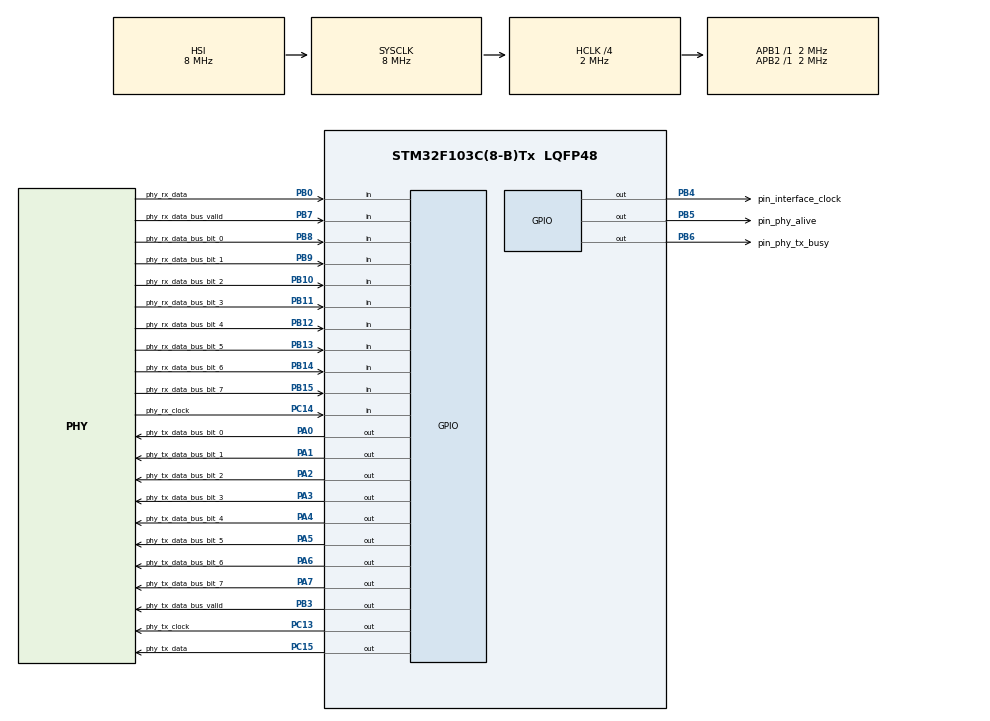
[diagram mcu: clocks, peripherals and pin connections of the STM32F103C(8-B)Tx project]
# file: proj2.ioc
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Mcu.Family=STM32F1
Mcu.Name=STM32F103C(8-B)Tx
Mcu.Package=LQFP48
NVIC.PriorityGroup=NVIC_PRIORITYGROUP_4
NVIC.TIM2_IRQn=true\:0\:0\:false\:false\:true\:true
NVIC.TIM3_IRQn=true\:0\:0\:false\:false\:true\:true
PA0-WKUP.GPIO_Label=phy_tx_data_bus_bit_0
PA0-WKUP.Signal=GPIO_Output
PA1.GPIO_Label=phy_tx_data_bus_bit_1
PA1.Signal=GPIO_Output
PA13.Mode=Serial_Wire
PA13.Signal=SYS_JTMS-SWDIO
PA14.Mode=Serial_Wire
PA14.Signal=SYS_JTCK-SWCLK
PA2.GPIO_Label=phy_tx_data_bus_bit_2
PA2.Signal=GPIO_Output
PA3.GPIO_Label=phy_tx_data_bus_bit_3
PA3.Signal=GPIO_Output
PA4.GPIO_Label=phy_tx_data_bus_bit_4
PA4.Signal=GPIO_Output
PA5.GPIO_Label=phy_tx_data_bus_bit_5
PA5.Signal=GPIO_Output
PA6.GPIO_Label=phy_tx_data_bus_bit_6
PA6.Signal=GPIO_Output
PA7.GPIO_Label=phy_tx_data_bus_bit_7
PA7.Signal=GPIO_Output
PB0.GPIO_Label=phy_rx_data
PB0.GPIO_PuPd=GPIO_PULLDOWN
PB0.Signal=GPIO_Input
PB10.GPIO_Label=phy_rx_data_bus_bit_2
PB10.GPIO_PuPd=GPIO_PULLDOWN
PB10.Signal=GPIO_Input
PB11.GPIO_Label=phy_rx_data_bus_bit_3
PB11.GPIO_PuPd=GPIO_PULLDOWN
PB11.Signal=GPIO_Input
PB12.GPIO_Label=phy_rx_data_bus_bit_4
PB12.GPIO_PuPd=GPIO_PULLDOWN
PB12.Signal=GPIO_Input
PB13.GPIO_Label=phy_rx_data_bus_bit_5
PB13.GPIO_PuPd=GPIO_PULLDOWN
PB13.Signal=GPIO_Input
PB14.GPIO_Label=phy_rx_data_bus_bit_6
PB14.GPIO_PuPd=GPIO_PULLDOWN
PB14.Signal=GPIO_Input
PB15.GPIO_Label=phy_rx_data_bus_bit_7
PB15.GPIO_PuPd=GPIO_PULLDOWN
PB15.Signal=GPIO_Input
PB3.GPIO_Label=phy_tx_data_bus_valid
PB3.Signal=GPIO_Output
PB4.GPIO_Label=pin_interface_clock
PB4.Signal=GPIO_Output
PB5.GPIO_Label=pin_phy_alive
PB5.Signal=GPIO_Output
PB6.GPIO_Label=pin_phy_tx_busy
PB6.Signal=GPIO_Output
PB7.GPIO_Label=phy_rx_data_bus_valid
PB7.GPIO_PuPd=GPIO_PULLDOWN
PB7.Signal=GPIO_Input
PB8.GPIO_Label=phy_rx_data_bus_bit_0
PB8.GPIO_PuPd=GPIO_PULLDOWN
PB8.Signal=GPIO_Input
PB9.GPIO_Label=phy_rx_data_bus_bit_1
PB9.GPIO_PuPd=GPIO_PULLDOWN
PB9.Signal=GPIO_Input
PC13-TAMPER-RTC.GPIO_Label=phy_tx_clock
PC13-TAMPER-RTC.GPIO_PuPd=GPIO_NOPULL
PC13-TAMPER-RTC.GPIO_Speed=GPIO_SPEED_FREQ_LOW
PC13-TAMPER-RTC.PinState=GPIO_PIN_RESET
PC13-TAMPER-RTC.Signal=GPIO_Output
PC14-OSC32_IN.GPIO_Label=phy_rx_clock
PC14-OSC32_IN.GPIO_PuPd=GPIO_PULLDOWN
PC14-OSC32_IN.Signal=GPIO_Input
PC15-OSC32_OUT.GPIO_Label=phy_tx_data
PC15-OSC32_OUT.Signal=GPIO_Output
ProjectManager.HeapSize=0x200
ProjectManager.StackSize=0x400
ProjectManager.TargetToolchain=MDK-ARM V5
RCC.AHBCLKDivider=RCC_SYSCLK_DIV4
RCC.AHBFreq_Value=2000000
RCC.APB1Freq_Value=2000000
RCC.APB1TimFreq_Value=2000000
RCC.APB2Freq_Value=2000000
RCC.APB2TimFreq_Value=2000000
RCC.HCLKFreq_Value=2000000
RCC.SYSCLKFreq_VALUE=8000000
RCC.USBFreq_Value=8000000
TIM2.AutoReloadPreload=TIM_AUTORELOAD_PRELOAD_ENABLE
TIM2.CounterMode=TIM_COUNTERMODE_DOWN
TIM2.Period=1
TIM2.Prescaler=9999
TIM3.AutoReloadPreload=TIM_AUTORELOAD_PRELOAD_ENABLE
TIM3.CounterMode=TIM_COUNTERMODE_DOWN
TIM3.Period=1
TIM3.Prescaler=39999
VP_TIM2_VS_ClockSourceINT.Mode=Internal
VP_TIM3_VS_ClockSourceINT.Mode=Internal
board=custom

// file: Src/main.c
/**
  ******************************************************************************
  * @file           : main.c
  * @brief          : Main program body
  ******************************************************************************
  ** This notice applies to any and all portions of this file
  * that are not between comment pairs USER CODE BEGIN and
  * USER CODE END. Other portions of this file, whether
  * inserted by the user or by software development tools
  * are owned by their respective copyright owners.
  *
  * COPYRIGHT(c) 2020 STMicroelectronics
  *
  * Redistribution and use in source and binary forms, with or without modification,
  * are permitted provided that the following conditions are met:
  *   1. Redistributions of source code must retain the above copyright notice,
  *      this list of conditions and the following disclaimer.
  *   2. Redistributions in binary form must reproduce the above copyright notice,
  *      this list of conditions and the following disclaimer in the documentation
  *      and/or other materials provided with the distribution.
  *   3. Neither the name of STMicroelectronics nor the names of its contributors
  *      may be used to endorse or promote products derived from this software
  *      without specific prior written permission.
  *
  * THIS SOFTWARE IS PROVIDED BY THE COPYRIGHT HOLDERS AND CONTRIBUTORS "AS IS"
  * AND ANY EXPRESS OR IMPLIED WARRANTIES, INCLUDING, BUT NOT LIMITED TO, THE
  * IMPLIED WARRANTIES OF MERCHANTABILITY AND FITNESS FOR A PARTICULAR PURPOSE ARE
  * DISCLAIMED. IN NO EVENT SHALL THE COPYRIGHT HOLDER OR CONTRIBUTORS BE LIABLE
  * FOR ANY DIRECT, INDIRECT, INCIDENTAL, SPECIAL, EXEMPLARY, OR CONSEQUENTIAL
  * DAMAGES (INCLUDING, BUT NOT LIMITED TO, PROCUREMENT OF SUBSTITUTE GOODS OR
  * SERVICES; LOSS OF USE, DATA, OR PROFITS; OR BUSINESS INTERRUPTION) HOWEVER
  * CAUSED AND ON ANY THEORY OF LIABILITY, WHETHER IN CONTRACT, STRICT LIABILITY,
  * OR TORT (INCLUDING NEGLIGENCE OR OTHERWISE) ARISING IN ANY WAY OUT OF THE USE
  * OF THIS SOFTWARE, EVEN IF ADVISED OF THE POSSIBILITY OF SUCH DAMAGE.
  *
  ******************************************************************************
  */
#include "main.h"
#include "stm32f1xx_hal.h"

/* USER CODE BEGIN Includes */

#include	"define.h"
#include 	"stdio.h"
#include	"stdlib.h"

/* USER CODE END Includes */

TIM_HandleTypeDef htim2;
TIM_HandleTypeDef htim3;

/* USER CODE BEGIN PV */
/* Private variables ---------------------------------------------------------*/
int phy_to_dll_rx_bus=0;
int phy_to_dll_rx_bus_valid=0;
int dll_to_phy_tx_bus=0;
int dll_to_phy_tx_bus_valid=0;
int phy_tx_busy=0;
int rx_data=0;
int tx_data=0;//0x4655434B
int delay=0;
int	txShiftCount=8;
int	rxShiftCount=0;
uint8_t state=0;
uint8_t thing=0;
int check=0;
int prevTX=0;
int prevRX=0;
int prevINTC=0;
int ctxbit=0;
int IgnoreSignal=0;
int curr=0;
static uint8_t interfaceClock;
static uint8_t isAlive;
static uint8_t Busy;
int sentcheck=2;
int recievecheck=2;
int txbustransfer=0;
int rxbustransfer=0;
int rxbus=phy_rx_data_bus_bit_0_Pin|phy_rx_data_bus_bit_1_Pin|phy_rx_data_bus_bit_2_Pin|phy_rx_data_bus_bit_3_Pin|phy_rx_data_bus_bit_4_Pin|phy_rx_data_bus_bit_5_Pin|phy_rx_data_bus_bit_6_Pin|phy_rx_data_bus_bit_7_Pin;
int txbus=phy_tx_data_bus_bit_0_Pin|phy_tx_data_bus_bit_1_Pin|phy_tx_data_bus_bit_2_Pin|phy_tx_data_bus_bit_3_Pin|phy_tx_data_bus_bit_4_Pin|phy_tx_data_bus_bit_5_Pin|phy_tx_data_bus_bit_6_Pin|phy_tx_data_bus_bit_7_Pin;
int GPIOB_VALID_BUSY=pin_phy_tx_busy_Pin|phy_rx_data_bus_valid_Pin;
int* GPIOA_TX_BUS=(int*)(GPIOA_BASE|0x8);//IDR
int* GPIOB_RX_BUS=(int*)(GPIOB_BASE|0xC);//ODR
int TX_BUS=0;
int RX_BUS=0;
/* USER CODE END PV */

void SystemClock_Config(void);
static void MX_GPIO_Init(void);
static void MX_TIM3_Init(void);
static void MX_TIM2_Init(void);

/* USER CODE BEGIN PFP */
/* Private function prototypes -----------------------------------------------*/

/* USER CODE END PFP */

/* USER CODE BEGIN 0 */

/*
void dll_RX(){
	if(phy_to_dll_rx_bus_valid){
		rx_data=phy_to_dll_rx_bus;
		phy_to_dll_rx_bus=0;
		phy_to_dll_rx_bus_valid=0;
	}
}

void dll_TX(){
	if((dll_to_phy_tx_bus_valid==0) && (phy_tx_busy==0)){
		if(!delay){
			dll_to_phy_tx_bus=tx_data;
			dll_to_phy_tx_bus_valid=1;
			phy_tx_busy=1;
			delay=rand()%9;
		}else if(delay>0){
			delay--;
		}
	}
}
*/

void phy_TX(){
	tx_data=0;
	check=HAL_GPIO_ReadPin(GPIOC,GPIO_PIN_13);
	if(check && (check!=prevTX)){
		phy_tx_busy=dll_to_phy_tx_bus_valid|phy_tx_busy;
		if(txShiftCount>0 && phy_tx_busy==1){
			phy_tx_busy=1;
			tx_data=(TX_BUS&1);
			TX_BUS>>=1;
			txShiftCount--;
			if(tx_data==1){
				HAL_GPIO_WritePin(GPIOC,GPIO_PIN_15,GPIO_PIN_SET);
			}else{
				HAL_GPIO_WritePin(GPIOC,GPIO_PIN_15,GPIO_PIN_RESET);
			}
		}else{
			txShiftCount=8;
			phy_tx_busy=0;
		}
	}
	prevTX=check;
}

void phy_RX(){
	rx_data=0;
	int chk=HAL_GPIO_ReadPin(GPIOC,GPIO_PIN_14);
	int intc=HAL_GPIO_ReadPin(GPIOB,GPIO_PIN_4);
	if((chk==0) && (chk!=prevRX)){
		if(phy_to_dll_rx_bus_valid==0 && rxShiftCount<8){
			rx_data=HAL_GPIO_ReadPin(GPIOB,GPIO_PIN_0);
			rx_data<<=rxShiftCount;
			RX_BUS=RX_BUS|rx_data;
			rxShiftCount++;
		}else{
			RX_BUS<<=8;
			phy_to_dll_rx_bus_valid=1;
			rxShiftCount=0;
		}
	}
	prevRX=chk;
}

/*
void dll_layer(){
	dll_TX();
	dll_RX();
}
*/

void phy_layer(){
	phy_TX();
	phy_RX();
}

void interface(){
	//IgnoreSignal=0;
	curr=HAL_GPIO_ReadPin(GPIOB,GPIO_PIN_4);
	txbustransfer=0;
	rxbustransfer=0;
	if(curr!=prevINTC){
		if(curr==1){
			if(phy_to_dll_rx_bus_valid==1){
				*GPIOB_RX_BUS=((*GPIOB_RX_BUS)&(0xFFFF00FF));
				*GPIOB_RX_BUS=((*GPIOB_RX_BUS)|(RX_BUS&rxbus));
				RX_BUS=0;
			}
			if(phy_tx_busy==1){
				HAL_GPIO_WritePin(GPIOB,pin_phy_tx_busy_Pin,GPIO_PIN_SET);
			}else{
				HAL_GPIO_WritePin(GPIOB,pin_phy_tx_busy_Pin,GPIO_PIN_RESET);
			}
			if(phy_to_dll_rx_bus_valid==1){
				HAL_GPIO_WritePin(GPIOB,phy_rx_data_bus_valid_Pin,GPIO_PIN_SET);
			}else{
			HAL_GPIO_WritePin(GPIOB,phy_rx_data_bus_valid_Pin,GPIO_PIN_RESET);
			}
		}else{
			if(phy_tx_busy==0){
				TX_BUS=((*GPIOA_TX_BUS)&txbus);
				phy_tx_busy=1;
			}
			dll_to_phy_tx_bus_valid=HAL_GPIO_ReadPin(GPIOB,phy_tx_data_bus_valid_Pin);
		}
	}
	prevINTC=curr;

}

/* USER CODE END 0 */

int main(void)
{

  /* MCU Configuration----------------------------------------------------------*/

  /* Reset of all peripherals, Initializes the Flash interface and the Systick. */
  HAL_Init();

  /* USE R CODE BEGIN Init */

  /* USER CODE END Init */

  /* Configure the system clock */
  SystemClock_Config();

  /* Initialize all configured peripherals */
  MX_GPIO_Init();
  MX_TIM3_Init();
  MX_TIM2_Init();
  /* USER CODE BEGIN 2 */
	HAL_TIM_Base_Start_IT(&htim3);
	HAL_TIM_Base_Start_IT(&htim2);
  /* USER CODE END 2 */

  /* Infinite loop */
  /* USER CODE BEGIN WHILE */

  while (1){
		interfaceClock=HAL_GPIO_ReadPin(GPIOB,GPIO_PIN_4);
		isAlive=HAL_GPIO_ReadPin(GPIOB,GPIO_PIN_5);
		Busy=HAL_GPIO_ReadPin(GPIOB,GPIO_PIN_6);
//		dll_layer();
		phy_layer();
		HAL_GPIO_WritePin(GPIOB,GPIO_PIN_5,GPIO_PIN_SET);
		interface();

  /* USER CODE END WHILE */

  }

}

void SystemClock_Config(void)
{

  RCC_OscInitTypeDef RCC_OscInitStruct;
  RCC_ClkInitTypeDef RCC_ClkInitStruct;

    /**Initializes the CPU, AHB and APB busses clocks
    */
  RCC_OscInitStruct.OscillatorType = RCC_OSCILLATORTYPE_HSI;
  RCC_OscInitStruct.HSIState = RCC_HSI_ON;
  RCC_OscInitStruct.HSICalibrationValue = 16;
  RCC_OscInitStruct.PLL.PLLState = RCC_PLL_NONE;
  if (HAL_RCC_OscConfig(&RCC_OscInitStruct) != HAL_OK)
  {
    _Error_Handler(__FILE__, __LINE__);
  }

    /**Initializes the CPU, AHB and APB busses clocks
    */
  RCC_ClkInitStruct.ClockType = RCC_CLOCKTYPE_HCLK|RCC_CLOCKTYPE_SYSCLK
                              |RCC_CLOCKTYPE_PCLK1|RCC_CLOCKTYPE_PCLK2;
  RCC_ClkInitStruct.SYSCLKSource = RCC_SYSCLKSOURCE_HSI;
  RCC_ClkInitStruct.AHBCLKDivider = RCC_SYSCLK_DIV4;
  RCC_ClkInitStruct.APB1CLKDivider = RCC_HCLK_DIV1;
  RCC_ClkInitStruct.APB2CLKDivider = RCC_HCLK_DIV1;

  if (HAL_RCC_ClockConfig(&RCC_ClkInitStruct, FLASH_LATENCY_0) != HAL_OK)
  {
    _Error_Handler(__FILE__, __LINE__);
  }

    /**Configure the Systick interrupt time
    */
  HAL_SYSTICK_Config(HAL_RCC_GetHCLKFreq()/1000);

    /**Configure the Systick
    */
  HAL_SYSTICK_CLKSourceConfig(SYSTICK_CLKSOURCE_HCLK);

  /* SysTick_IRQn interrupt configuration */
  HAL_NVIC_SetPriority(SysTick_IRQn, 0, 0);
}

/* TIM2 init function */
static void MX_TIM2_Init(void)
{

  TIM_ClockConfigTypeDef sClockSourceConfig;
  TIM_MasterConfigTypeDef sMasterConfig;

  htim2.Instance = TIM2;
  htim2.Init.Prescaler = 9999;
  htim2.Init.CounterMode = TIM_COUNTERMODE_DOWN;
  htim2.Init.Period = 1;
  htim2.Init.ClockDivision = TIM_CLOCKDIVISION_DIV1;
  htim2.Init.AutoReloadPreload = TIM_AUTORELOAD_PRELOAD_ENABLE;
  if (HAL_TIM_Base_Init(&htim2) != HAL_OK)
  {
    _Error_Handler(__FILE__, __LINE__);
  }

  sClockSourceConfig.ClockSource = TIM_CLOCKSOURCE_INTERNAL;
  if (HAL_TIM_ConfigClockSource(&htim2, &sClockSourceConfig) != HAL_OK)
  {
    _Error_Handler(__FILE__, __LINE__);
  }

  sMasterConfig.MasterOutputTrigger = TIM_TRGO_RESET;
  sMasterConfig.MasterSlaveMode = TIM_MASTERSLAVEMODE_DISABLE;
  if (HAL_TIMEx_MasterConfigSynchronization(&htim2, &sMasterConfig) != HAL_OK)
  {
    _Error_Handler(__FILE__, __LINE__);
  }

}

/* TIM3 init function */
static void MX_TIM3_Init(void)
{

  TIM_ClockConfigTypeDef sClockSourceConfig;
  TIM_MasterConfigTypeDef sMasterConfig;

  htim3.Instance = TIM3;
  htim3.Init.Prescaler = 39999;
  htim3.Init.CounterMode = TIM_COUNTERMODE_DOWN;
  htim3.Init.Period = 1;
  htim3.Init.ClockDivision = TIM_CLOCKDIVISION_DIV1;
  htim3.Init.AutoReloadPreload = TIM_AUTORELOAD_PRELOAD_ENABLE;
  if (HAL_TIM_Base_Init(&htim3) != HAL_OK)
  {
    _Error_Handler(__FILE__, __LINE__);
  }

  sClockSourceConfig.ClockSource = TIM_CLOCKSOURCE_INTERNAL;
  if (HAL_TIM_ConfigClockSource(&htim3, &sClockSourceConfig) != HAL_OK)
  {
    _Error_Handler(__FILE__, __LINE__);
  }

  sMasterConfig.MasterOutputTrigger = TIM_TRGO_RESET;
  sMasterConfig.MasterSlaveMode = TIM_MASTERSLAVEMODE_DISABLE;
  if (HAL_TIMEx_MasterConfigSynchronization(&htim3, &sMasterConfig) != HAL_OK)
  {
    _Error_Handler(__FILE__, __LINE__);
  }

}

/** Configure pins as
        * Analog
        * Input
        * Output
        * EVENT_OUT
        * EXTI
*/
static void MX_GPIO_Init(void)
{

  GPIO_InitTypeDef GPIO_InitStruct;

  /* GPIO Ports Clock Enable */
  __HAL_RCC_GPIOC_CLK_ENABLE();
  __HAL_RCC_GPIOA_CLK_ENABLE();
  __HAL_RCC_GPIOB_CLK_ENABLE();

  /*Configure GPIO pin Output Level */
  HAL_GPIO_WritePin(GPIOC, phy_tx_clock_Pin|phy_tx_data_Pin, GPIO_PIN_RESET);

  /*Configure GPIO pin Output Level */
  HAL_GPIO_WritePin(GPIOA, phy_tx_data_bus_bit_0_Pin|phy_tx_data_bus_bit_1_Pin|phy_tx_data_bus_bit_2_Pin|phy_tx_data_bus_bit_3_Pin
                          |phy_tx_data_bus_bit_4_Pin|phy_tx_data_bus_bit_5_Pin|phy_tx_data_bus_bit_6_Pin|phy_tx_data_bus_bit_7_Pin, GPIO_PIN_RESET);

  /*Configure GPIO pin Output Level */
  HAL_GPIO_WritePin(GPIOB, phy_tx_data_bus_valid_Pin|pin_interface_clock_Pin|pin_phy_alive_Pin|pin_phy_tx_busy_Pin, GPIO_PIN_RESET);

  /*Configure GPIO pins : phy_tx_clock_Pin phy_tx_data_Pin */
  GPIO_InitStruct.Pin = phy_tx_clock_Pin|phy_tx_data_Pin;
  GPIO_InitStruct.Mode = GPIO_MODE_OUTPUT_PP;
  GPIO_InitStruct.Pull = GPIO_NOPULL;
  GPIO_InitStruct.Speed = GPIO_SPEED_FREQ_LOW;
  HAL_GPIO_Init(GPIOC, &GPIO_InitStruct);

  /*Configure GPIO pin : phy_rx_clock_Pin */
  GPIO_InitStruct.Pin = phy_rx_clock_Pin;
  GPIO_InitStruct.Mode = GPIO_MODE_INPUT;
  GPIO_InitStruct.Pull = GPIO_PULLDOWN;
  HAL_GPIO_Init(phy_rx_clock_GPIO_Port, &GPIO_InitStruct);

  /*Configure GPIO pins : phy_tx_data_bus_bit_0_Pin phy_tx_data_bus_bit_1_Pin phy_tx_data_bus_bit_2_Pin phy_tx_data_bus_bit_3_Pin
                           phy_tx_data_bus_bit_4_Pin phy_tx_data_bus_bit_5_Pin phy_tx_data_bus_bit_6_Pin phy_tx_data_bus_bit_7_Pin */
  GPIO_InitStruct.Pin = phy_tx_data_bus_bit_0_Pin|phy_tx_data_bus_bit_1_Pin|phy_tx_data_bus_bit_2_Pin|phy_tx_data_bus_bit_3_Pin
                          |phy_tx_data_bus_bit_4_Pin|phy_tx_data_bus_bit_5_Pin|phy_tx_data_bus_bit_6_Pin|phy_tx_data_bus_bit_7_Pin;
  GPIO_InitStruct.Mode = GPIO_MODE_OUTPUT_PP;
  GPIO_InitStruct.Pull = GPIO_NOPULL;
  GPIO_InitStruct.Speed = GPIO_SPEED_FREQ_LOW;
  HAL_GPIO_Init(GPIOA, &GPIO_InitStruct);

  /*Configure GPIO pins : phy_rx_data_Pin phy_rx_data_bus_bit_2_Pin phy_rx_data_bus_bit_3_Pin phy_rx_data_bus_bit_4_Pin
                           phy_rx_data_bus_bit_5_Pin phy_rx_data_bus_bit_6_Pin phy_rx_data_bus_bit_7_Pin phy_rx_data_bus_valid_Pin
                           phy_rx_data_bus_bit_0_Pin phy_rx_data_bus_bit_1_Pin */
  GPIO_InitStruct.Pin = phy_rx_data_Pin|phy_rx_data_bus_bit_2_Pin|phy_rx_data_bus_bit_3_Pin|phy_rx_data_bus_bit_4_Pin
                          |phy_rx_data_bus_bit_5_Pin|phy_rx_data_bus_bit_6_Pin|phy_rx_data_bus_bit_7_Pin|phy_rx_data_bus_valid_Pin
                          |phy_rx_data_bus_bit_0_Pin|phy_rx_data_bus_bit_1_Pin;
  GPIO_InitStruct.Mode = GPIO_MODE_INPUT;
  GPIO_InitStruct.Pull = GPIO_PULLDOWN;
  HAL_GPIO_Init(GPIOB, &GPIO_InitStruct);

  /*Configure GPIO pins : phy_tx_data_bus_valid_Pin pin_interface_clock_Pin pin_phy_alive_Pin pin_phy_tx_busy_Pin */
  GPIO_InitStruct.Pin = phy_tx_data_bus_valid_Pin|pin_interface_clock_Pin|pin_phy_alive_Pin|pin_phy_tx_busy_Pin;
  GPIO_InitStruct.Mode = GPIO_MODE_OUTPUT_PP;
  GPIO_InitStruct.Pull = GPIO_NOPULL;
  GPIO_InitStruct.Speed = GPIO_SPEED_FREQ_LOW;
  HAL_GPIO_Init(GPIOB, &GPIO_InitStruct);

}

void _Error_Handler(char *file, int line)
{
  while(1)
  {
  }
}

/************************ (C) COPYRIGHT STMicroelectronics *****END OF FILE****/
